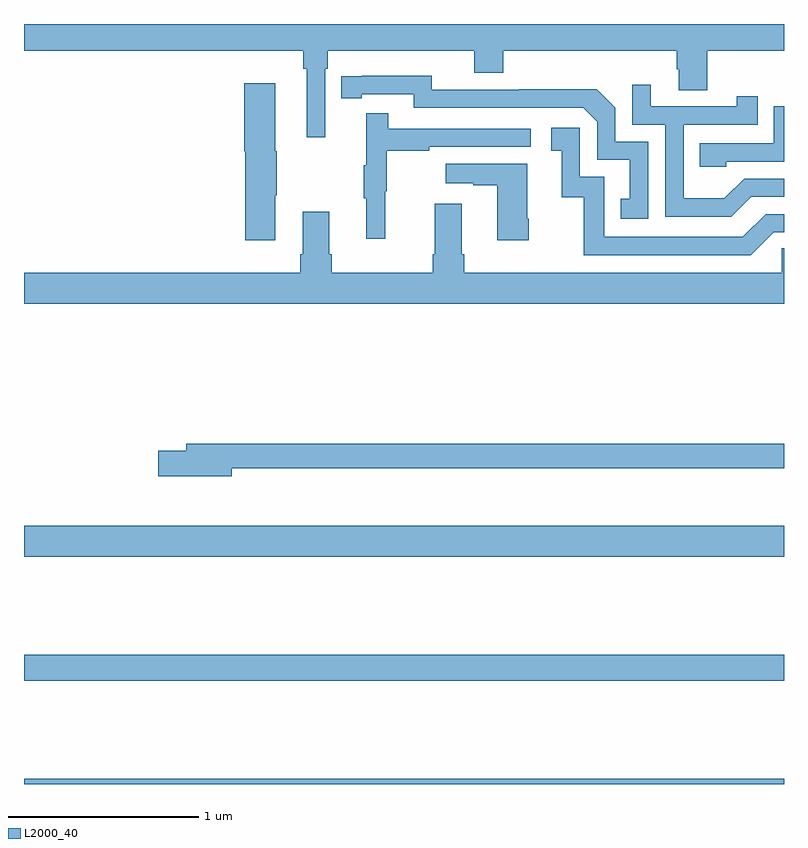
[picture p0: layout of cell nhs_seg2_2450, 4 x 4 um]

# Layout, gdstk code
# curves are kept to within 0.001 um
import gdstk
lib = gdstk.Library(unit=1e-6, precision=1e-09)
def R(c, l, rs):  # rectangles x0, y0, x1, y1
    for r in rs: c.add(gdstk.rectangle(r[:2], r[2:], *l))
def P(c, l, *ps):  # polygons
    for p in ps: c.add(gdstk.Polygon(p, *l))
L2000_40 = (2000, 40)

nhs_seg2_2450 = lib.new_cell('nhs_seg2_2450')
R(nhs_seg2_2450, L2000_40, [(239,619.8,243,619.828), (239,620.344,243,620.48), (239,620.996,243,621.16)])
P(nhs_seg2_2450, L2000_40, [(240.585,623.564),(240.599,623.564),(240.599,623.66),(241.37,623.66),(241.37,623.543),(241.523,623.543),(241.523,623.66),(242.435,623.66),(242.435,623.562),(242.447,623.562),(242.447,623.452),(242.595,623.452),(242.595,623.66),(243,623.66),(243,623.8),(239,623.8),(239,623.66),(240.469,623.66),(240.469,623.564),(240.488,623.564),(240.488,623.205),(240.585,623.205)],
  [(242.286,623.181),(242.112,623.181),(242.112,623.358),(242.014,623.456),(241.606,623.456),(241.606,623.454),(241.146,623.454),(241.146,623.527),(240.67,623.526),(240.67,623.41),(240.778,623.41),(240.778,623.43),(241.05,623.43),(241.05,623.358),(241.944,623.358),(242.016,623.286),(242.016,623.085),(242.189,623.085),(242.189,622.881),(242.14,622.881),(242.14,622.776),(242.286,622.776)],
  [(240.322,622.9),(240.33,622.9),(240.33,623.13),(240.322,623.13),(240.322,623.488),(240.158,623.488),(240.158,623.13),(240.164,623.13),(240.164,622.662),(240.322,622.662)],
  [(242.827,622.89),(243,622.89),(243,622.986),(242.79,622.986),(242.686,622.882),(242.472,622.882),(242.472,623.271),(242.861,623.271),(242.861,623.419),(242.75,623.419),(242.75,623.367),(242.299,623.367),(242.299,623.479),(242.202,623.479),(242.202,623.271),(242.376,623.271),(242.376,622.785),(242.722,622.785)],
  [(242.697,623.076),(243,623.076),(243,623.367),(242.946,623.367),(242.946,623.172),(242.557,623.172),(242.557,623.049),(242.697,623.049)],
  [(240.902,622.92),(240.91,622.92),(240.91,623.134),(241.133,623.134),(241.133,623.154),(241.666,623.154),(241.666,623.25),(240.917,623.25),(240.917,623.329),(240.8,623.329),(240.8,623.057),(240.789,623.057),(240.789,622.883),(240.8,622.883),(240.8,622.671),(240.902,622.671)],
  [(242.946,622.704),(243,622.704),(243,622.8),(242.904,622.8),(242.784,622.68),(242.055,622.68),(242.055,622.995),(241.926,622.995),(241.926,623.254),(241.776,623.254),(241.776,623.133),(241.829,623.133),(241.829,622.887),(241.947,622.887),(241.947,622.584),(242.826,622.584)],
  [(241.656,622.774),(241.648,622.774),(241.648,623.065),(241.221,623.065),(241.221,622.961),(241.364,622.961),(241.364,622.951),(241.49,622.951),(241.49,622.662),(241.656,622.662)],
  [(243,622.619),(242.988,622.619),(242.988,622.492),(241.316,622.492),(241.316,622.588),(241.303,622.588),(241.303,622.855),(241.163,622.855),(241.163,622.588),(241.151,622.588),(241.151,622.492),(240.62,622.492),(240.62,622.588),(240.607,622.588),(240.607,622.813),(240.467,622.813),(240.467,622.588),(240.455,622.588),(240.455,622.492),(239,622.492),(239,622.328),(243,622.328)],
  [(240.094,621.462),(243,621.462),(243,621.59),(239.855,621.59),(239.855,621.554),(239.706,621.554),(239.706,621.419),(240.094,621.419)])

lib.write_gds('nhs_seg2_2450.gds')
